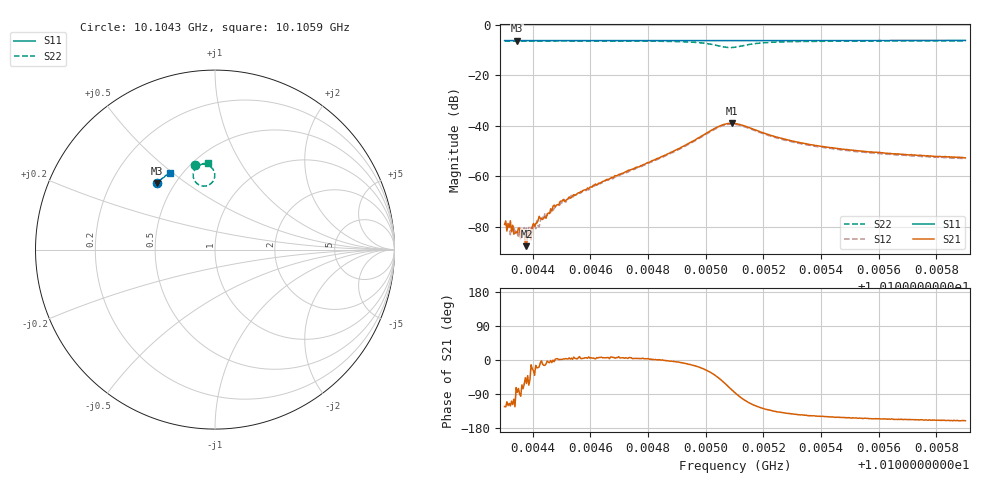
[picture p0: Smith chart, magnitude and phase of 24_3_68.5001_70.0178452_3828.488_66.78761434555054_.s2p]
#  HZ  S  RI  R  50.00
! Rohde & Schwarz Vector Network Analyzer
! Rohde-Schwarz,ZNB20-2Port,1311601062101988,3.16
! Created: UTC 3/20/2024, 4:49:39 PM
! freq[Hz]  re:S11  im:S11  re:S21  im:S21  re:S12  im:S12  re:S22  im:S22
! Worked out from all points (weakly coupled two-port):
!   401 points, 10.1043 GHz to 10.1059 GHz, reference 50 ohm
!   highest |S21| = -38.96 dB at 10.10509 GHz (marker M1); lowest = -87.8 dB at 10.10438 GHz (marker M2)
!   lowest |S11| = -6.2 dB at 10.10435 GHz (marker M3), VSWR 2.94, Z = 20.1 + j19.6 ohm
!   |S11| at or under -10 dB: nowhere
!   |S22| runs from -8.9 to -6.3 dB; largest |S21 - S12| = 0.0011
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1.0104303e10  -0.3255 0.3693  -6.02e-05 -9.29e-05  -6.24e-05 -8.82e-05  -0.1131 0.4711
1.0104347e10  -0.3235 0.3709  6.29e-06 -7.54e-05  -2.13e-05 -7.01e-05  -0.1097 0.4721
1.0104379e10  -0.3221 0.3724  1.91e-05 -3.61e-05  7.93e-05 -4.93e-05  -0.1072 0.4727
1.0104399e10  -0.3212 0.3732  9.03e-05 -3.89e-05  7.08e-05 -3.21e-05  -0.1054 0.473
1.0104418e10  -0.3203 0.3741  0.000123 -4.53e-05  9.93e-05 -3.09e-05  -0.1038 0.4734
1.010443e10  -0.3197 0.3745  0.000144 -5.76e-06  0.000142 -1.99e-05  -0.103 0.4735
1.0104434e10  -0.3196 0.3747  0.000136 -2.64e-05  0.000154 -1.24e-05  -0.1024 0.4737
1.0104442e10  -0.3191 0.375  0.00015 -3.82e-05  0.000185 -2.4e-05  -0.1018 0.4738
1.0104474e10  -0.3178 0.3763  0.000266 -2.08e-05  0.000228 3.17e-07  -0.0989 0.4744
1.0104502e10  -0.3165 0.3775  0.000321 9.95e-06  0.000295 3.56e-05  -0.0965 0.475
1.010457e10  -0.3134 0.3803  0.000484 3.19e-05  0.000496 9.06e-05  -0.0899 0.476
1.0104838e10  -0.3008 0.3911  0.00231 3.71e-05  0.00222 0.00019  -0.053 0.4754
1.0104966e10  -0.2946 0.3958  0.00516 -0.00151  0.00507 -0.000985  -0.0161 0.4539
1.0105042e10  -0.2907 0.3983  0.00666 -0.00678  0.00702 -0.00593  -0.00547 0.3918
1.010509e10  -0.2889 0.3999  0.00229 -0.011  0.00321 -0.0103  -0.0607 0.3537
1.0105102e10  -0.2884 0.4003  0.000711 -0.0111  0.00159 -0.0106  -0.0785 0.3561
1.0105146e10  -0.2867 0.4021  -0.00335 -0.00885  -0.00251 -0.00874  -0.1172 0.3911
1.0105202e10  -0.2842 0.4044  -0.00449 -0.00564  -0.0038 -0.00578  -0.1193 0.4304
1.010527e10  -0.2808 0.4069  -0.00418 -0.00358  -0.00369 -0.00377  -0.107 0.4535
1.0105369e10  -0.2761 0.4107  -0.00354 -0.00227  -0.00319 -0.00247  -0.0904 0.468
1.0105637e10  -0.2626 0.4202  -0.0026 -0.00116  -0.00239 -0.00132  -0.0605 0.4805
1.0105901e10  -0.2493 0.4289  -0.00219 -0.000779  -0.00201 -0.000944  -0.0386 0.4851
